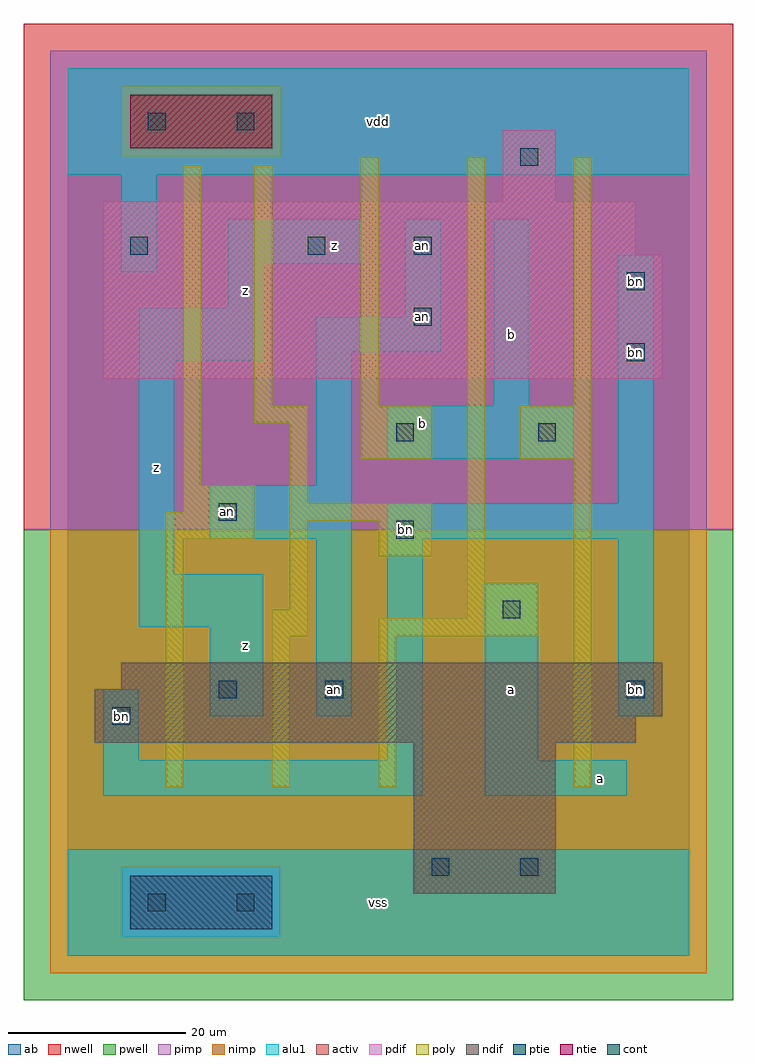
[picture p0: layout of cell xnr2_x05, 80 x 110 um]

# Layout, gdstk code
import gdstk
lib = gdstk.Library(unit=1e-6, precision=1e-09)
def R(c, l, rs):  # rectangles x0, y0, x1, y1
    for r in rs: c.add(gdstk.rectangle(r[:2], r[2:], *l))
ndif = (3, 0)
pdif = (4, 0)
ntie = (5, 0)
ptie = (6, 0)
cont = (25, 0)
pwell = (41, 0)
nwell = (42, 0)
activ = (43, 0)
pimp = (44, 0)
nimp = (45, 0)
poly = (46, 0)
alu1 = (49, 0)
ab = (63, 0)

xnr2_x05 = lib.new_cell('xnr2_x05')
R(xnr2_x05, ndif, [(39,7,55,24), (3,24,64,27), (3,27,67,30), (6,30,67,33)])
R(xnr2_x05, pdif, [(4,65,67,79), (4,79,64,85), (49,85,55,93)])
R(xnr2_x05, ntie, [(7,91,23,97)])
R(xnr2_x05, ptie, [(7,3,23,9)])
R(xnr2_x05, cont, [(9,5,11,7), (19,5,21,7), (41,9,43,11), (51,9,53,11), (5,26,7,28), (17,29,19,31), (29,29,31,31), (63,29,65,31), (49,38,51,40), (37,47,39,49), (17,49,19,51), (37,58,39,60), (53,58,55,60), (63,67,65,69), (39,71,41,73), (63,75,65,77), (7,79,9,81), (27,79,29,81), (39,79,41,81), (51,89,53,91), (9,93,11,95), (19,93,21,95)])
R(xnr2_x05, pwell, [(-5,-5,75,48)])
R(xnr2_x05, nwell, [(-5,48,75,105)])
R(xnr2_x05, activ, [(7,3,23,9), (39,7,55,24), (3,24,64,27), (3,27,67,30), (6,30,67,33), (4,65,67,79), (4,79,64,85), (49,85,55,93), (7,91,23,97)])
R(xnr2_x05, pimp, [(6,2,24,10), (-2,48,72,90), (-2,90,6,98), (24,90,72,98), (-2,98,72,102)])
R(xnr2_x05, nimp, [(-2,-2,72,2), (-2,2,6,10), (24,2,72,10), (-2,10,72,48), (6,90,24,98)])
R(xnr2_x05, poly, [(11,19,13,47), (23,19,25,36), (35,19,37,36), (57,19,59,56), (23,36,27,39), (35,36,53,38), (45,38,53,42), (25,39,27,49), (45,42,47,90), (35,45,41,49), (11,47,21,50), (25,49,41,51), (13,50,21,53), (25,51,27,60), (13,53,15,89), (33,56,41,62), (51,56,59,62), (21,60,27,62), (21,62,23,89), (33,62,35,90), (57,62,59,90)])
R(xnr2_x05, alu1, [(0,0,70,12), (4,18,40,22), (47,18,63,22), (4,22,8,30), (36,22,40,47), (47,22,53,42), (16,27,22,37), (28,27,32,47), (62,27,66,47), (8,37,22,43), (8,43,12,67), (16,47,32,53), (36,47,66,51), (62,51,66,79), (28,53,32,68), (36,56,57,62), (48,62,52,83), (8,67,22,73), (28,68,42,72), (38,72,42,83), (18,73,22,78), (6,77,10,88), (18,78,33,83), (0,88,70,100)])
R(xnr2_x05, ab, [(0,0,70,100)])
xnr2_x05.add(gdstk.Label('bn', (6,27), layer=49, texttype=0))
xnr2_x05.add(gdstk.Label('an', (30,30), layer=49, texttype=0))
xnr2_x05.add(gdstk.Label('an', (18,50), layer=49, texttype=0))
xnr2_x05.add(gdstk.Label('bn', (38,48), layer=49, texttype=0))
xnr2_x05.add(gdstk.Label('an', (40,72), layer=49, texttype=0))
xnr2_x05.add(gdstk.Label('an', (40,80), layer=49, texttype=0))
xnr2_x05.add(gdstk.Label('bn', (64,30), layer=49, texttype=0))
xnr2_x05.add(gdstk.Label('bn', (64,68), layer=49, texttype=0))
xnr2_x05.add(gdstk.Label('bn', (64,76), layer=49, texttype=0))
xnr2_x05.add(gdstk.Label('z', (10,55), layer=49, texttype=0))
xnr2_x05.add(gdstk.Label('z', (20,35), layer=49, texttype=0))
xnr2_x05.add(gdstk.Label('z', (20,75), layer=49, texttype=0))
xnr2_x05.add(gdstk.Label('z', (30,80), layer=49, texttype=0))
xnr2_x05.add(gdstk.Label('vss', (35,6), layer=49, texttype=0))
xnr2_x05.add(gdstk.Label('a', (50,30), layer=49, texttype=0))
xnr2_x05.add(gdstk.Label('b', (50,70), layer=49, texttype=0))
xnr2_x05.add(gdstk.Label('b', (40,60), layer=49, texttype=0))
xnr2_x05.add(gdstk.Label('vdd', (35,94), layer=49, texttype=0))
xnr2_x05.add(gdstk.Label('a', (60,20), layer=49, texttype=0))

lib.write_gds('xnr2_x05.gds')
